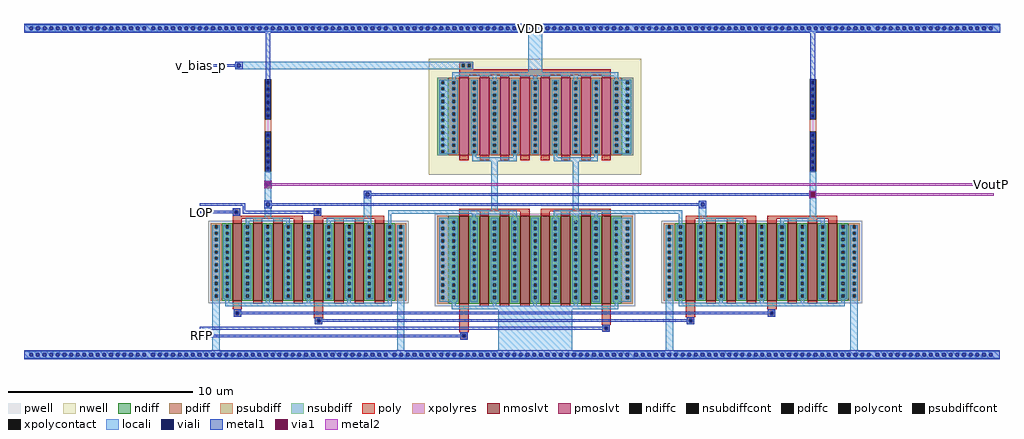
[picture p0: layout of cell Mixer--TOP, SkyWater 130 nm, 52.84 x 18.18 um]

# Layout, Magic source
magic
tech sky130A
magscale 1 2
<< poly >>
rect -151 597 -3 599
rect -151 563 1489 597
rect -2606 -2003 -2506 -1939
rect -1726 -2099 -1626 -1939
rect -152 -2249 -52 -1971
rect 1388 -2171 1488 -1971
rect 2302 -2085 2402 -1939
rect 3182 -2003 3282 -1939
<< locali >>
rect -4865 1059 5702 1082
rect -4865 1025 -4804 1059
rect -4770 1025 -4732 1059
rect -4698 1025 -4660 1059
rect -4626 1025 -4588 1059
rect -4554 1025 -4516 1059
rect -4482 1025 -4444 1059
rect -4410 1025 -4372 1059
rect -4338 1025 -4300 1059
rect -4266 1025 -4228 1059
rect -4194 1025 -4156 1059
rect -4122 1025 -4084 1059
rect -4050 1025 -4012 1059
rect -3978 1025 -3940 1059
rect -3906 1025 -3868 1059
rect -3834 1025 -3796 1059
rect -3762 1025 -3724 1059
rect -3690 1025 -3652 1059
rect -3618 1025 -3580 1059
rect -3546 1025 -3485 1059
rect -3451 1025 -3413 1059
rect -3379 1025 -3341 1059
rect -3307 1025 -3269 1059
rect -3235 1025 -3197 1059
rect -3163 1025 -3125 1059
rect -3091 1025 -3053 1059
rect -3019 1025 -2981 1059
rect -2947 1025 -2909 1059
rect -2875 1025 -2837 1059
rect -2803 1025 -2765 1059
rect -2731 1025 -2693 1059
rect -2659 1025 -2621 1059
rect -2587 1025 -2549 1059
rect -2515 1025 -2477 1059
rect -2443 1025 -2405 1059
rect -2371 1025 -2333 1059
rect -2299 1025 -2261 1059
rect -2227 1025 -2189 1059
rect -2155 1025 -2117 1059
rect -2083 1025 -2045 1059
rect -2011 1025 -1973 1059
rect -1939 1025 -1901 1059
rect -1867 1025 -1829 1059
rect -1795 1025 -1757 1059
rect -1723 1025 -1685 1059
rect -1651 1025 -1613 1059
rect -1579 1025 -1541 1059
rect -1507 1025 -1469 1059
rect -1435 1025 -1397 1059
rect -1363 1025 -1325 1059
rect -1291 1025 -1253 1059
rect -1219 1025 -1181 1059
rect -1147 1025 -1109 1059
rect -1075 1025 -1037 1059
rect -1003 1025 -965 1059
rect -931 1025 -870 1059
rect -836 1025 -798 1059
rect -764 1025 -726 1059
rect -692 1025 -654 1059
rect -620 1025 -582 1059
rect -548 1025 -510 1059
rect -476 1025 -438 1059
rect -404 1025 -366 1059
rect -332 1025 -294 1059
rect -260 1025 -222 1059
rect -188 1025 -150 1059
rect -116 1025 -78 1059
rect -44 1025 -6 1059
rect 28 1025 66 1059
rect 100 1025 138 1059
rect 172 1025 210 1059
rect 244 1025 282 1059
rect 316 1025 354 1059
rect 388 1025 426 1059
rect 460 1025 498 1059
rect 532 1025 570 1059
rect 604 1025 642 1059
rect 676 1025 714 1059
rect 748 1025 786 1059
rect 820 1025 858 1059
rect 892 1025 930 1059
rect 964 1025 1002 1059
rect 1036 1025 1074 1059
rect 1108 1025 1146 1059
rect 1180 1025 1218 1059
rect 1252 1025 1290 1059
rect 1324 1025 1362 1059
rect 1396 1025 1434 1059
rect 1468 1025 1506 1059
rect 1540 1025 1578 1059
rect 1612 1025 1650 1059
rect 1684 1025 1745 1059
rect 1779 1025 1817 1059
rect 1851 1025 1889 1059
rect 1923 1025 1961 1059
rect 1995 1025 2033 1059
rect 2067 1025 2105 1059
rect 2139 1025 2177 1059
rect 2211 1025 2249 1059
rect 2283 1025 2321 1059
rect 2355 1025 2393 1059
rect 2427 1025 2465 1059
rect 2499 1025 2537 1059
rect 2571 1025 2609 1059
rect 2643 1025 2681 1059
rect 2715 1025 2753 1059
rect 2787 1025 2825 1059
rect 2859 1025 2897 1059
rect 2931 1025 2969 1059
rect 3003 1025 3041 1059
rect 3075 1025 3113 1059
rect 3147 1025 3185 1059
rect 3219 1025 3257 1059
rect 3291 1025 3329 1059
rect 3363 1025 3401 1059
rect 3435 1025 3473 1059
rect 3507 1025 3545 1059
rect 3579 1025 3617 1059
rect 3651 1025 3689 1059
rect 3723 1025 3761 1059
rect 3795 1025 3833 1059
rect 3867 1025 3905 1059
rect 3939 1025 3977 1059
rect 4011 1025 4049 1059
rect 4083 1025 4121 1059
rect 4155 1025 4193 1059
rect 4227 1025 4265 1059
rect 4299 1025 4360 1059
rect 4394 1025 4432 1059
rect 4466 1025 4504 1059
rect 4538 1025 4576 1059
rect 4610 1025 4648 1059
rect 4682 1025 4720 1059
rect 4754 1025 4792 1059
rect 4826 1025 4864 1059
rect 4898 1025 4936 1059
rect 4970 1025 5008 1059
rect 5042 1025 5080 1059
rect 5114 1025 5152 1059
rect 5186 1025 5224 1059
rect 5258 1025 5296 1059
rect 5330 1025 5368 1059
rect 5402 1025 5440 1059
rect 5474 1025 5512 1059
rect 5546 1025 5584 1059
rect 5618 1025 5702 1059
rect -4865 1002 5702 1025
rect -2500 599 -151 679
rect 596 564 744 1002
rect -2259 -1009 -2189 -511
rect -1186 -1009 -1106 -798
rect 196 -931 264 -396
rect -923 -965 -12 -931
rect -923 -1089 -889 -965
rect -2826 -2454 -2746 -1889
rect -826 -2454 -746 -1889
rect -292 -1921 -252 -1011
rect 1075 -1060 1143 -396
rect 1348 -965 2259 -931
rect 1588 -1921 1628 -1011
rect 2225 -1093 2259 -965
rect 2442 -1009 2522 -907
rect 3640 -1009 3710 -511
rect 270 -2454 1070 -2001
rect 2082 -2454 2162 -1889
rect 4082 -2454 4162 -1889
rect -4866 -2477 5701 -2454
rect -4866 -2511 -4805 -2477
rect -4771 -2511 -4733 -2477
rect -4699 -2511 -4661 -2477
rect -4627 -2511 -4589 -2477
rect -4555 -2511 -4517 -2477
rect -4483 -2511 -4445 -2477
rect -4411 -2511 -4373 -2477
rect -4339 -2511 -4301 -2477
rect -4267 -2511 -4229 -2477
rect -4195 -2511 -4157 -2477
rect -4123 -2511 -4085 -2477
rect -4051 -2511 -4013 -2477
rect -3979 -2511 -3941 -2477
rect -3907 -2511 -3869 -2477
rect -3835 -2511 -3797 -2477
rect -3763 -2511 -3725 -2477
rect -3691 -2511 -3653 -2477
rect -3619 -2511 -3581 -2477
rect -3547 -2511 -3486 -2477
rect -3452 -2511 -3414 -2477
rect -3380 -2511 -3342 -2477
rect -3308 -2511 -3270 -2477
rect -3236 -2511 -3198 -2477
rect -3164 -2511 -3126 -2477
rect -3092 -2511 -3054 -2477
rect -3020 -2511 -2982 -2477
rect -2948 -2511 -2910 -2477
rect -2876 -2511 -2838 -2477
rect -2804 -2511 -2766 -2477
rect -2732 -2511 -2694 -2477
rect -2660 -2511 -2622 -2477
rect -2588 -2511 -2550 -2477
rect -2516 -2511 -2478 -2477
rect -2444 -2511 -2406 -2477
rect -2372 -2511 -2334 -2477
rect -2300 -2511 -2262 -2477
rect -2228 -2511 -2190 -2477
rect -2156 -2511 -2118 -2477
rect -2084 -2511 -2046 -2477
rect -2012 -2511 -1974 -2477
rect -1940 -2511 -1902 -2477
rect -1868 -2511 -1830 -2477
rect -1796 -2511 -1758 -2477
rect -1724 -2511 -1686 -2477
rect -1652 -2511 -1614 -2477
rect -1580 -2511 -1542 -2477
rect -1508 -2511 -1470 -2477
rect -1436 -2511 -1398 -2477
rect -1364 -2511 -1326 -2477
rect -1292 -2511 -1254 -2477
rect -1220 -2511 -1182 -2477
rect -1148 -2511 -1110 -2477
rect -1076 -2511 -1038 -2477
rect -1004 -2511 -966 -2477
rect -932 -2511 -871 -2477
rect -837 -2511 -799 -2477
rect -765 -2511 -727 -2477
rect -693 -2511 -655 -2477
rect -621 -2511 -583 -2477
rect -549 -2511 -511 -2477
rect -477 -2511 -439 -2477
rect -405 -2511 -367 -2477
rect -333 -2511 -295 -2477
rect -261 -2511 -223 -2477
rect -189 -2511 -151 -2477
rect -117 -2511 -79 -2477
rect -45 -2511 -7 -2477
rect 27 -2511 65 -2477
rect 99 -2511 137 -2477
rect 171 -2511 209 -2477
rect 243 -2511 281 -2477
rect 315 -2511 353 -2477
rect 387 -2511 425 -2477
rect 459 -2511 497 -2477
rect 531 -2511 569 -2477
rect 603 -2511 641 -2477
rect 675 -2511 713 -2477
rect 747 -2511 785 -2477
rect 819 -2511 857 -2477
rect 891 -2511 929 -2477
rect 963 -2511 1001 -2477
rect 1035 -2511 1073 -2477
rect 1107 -2511 1145 -2477
rect 1179 -2511 1217 -2477
rect 1251 -2511 1289 -2477
rect 1323 -2511 1361 -2477
rect 1395 -2511 1433 -2477
rect 1467 -2511 1505 -2477
rect 1539 -2511 1577 -2477
rect 1611 -2511 1649 -2477
rect 1683 -2511 1744 -2477
rect 1778 -2511 1816 -2477
rect 1850 -2511 1888 -2477
rect 1922 -2511 1960 -2477
rect 1994 -2511 2032 -2477
rect 2066 -2511 2104 -2477
rect 2138 -2511 2176 -2477
rect 2210 -2511 2248 -2477
rect 2282 -2511 2320 -2477
rect 2354 -2511 2392 -2477
rect 2426 -2511 2464 -2477
rect 2498 -2511 2536 -2477
rect 2570 -2511 2608 -2477
rect 2642 -2511 2680 -2477
rect 2714 -2511 2752 -2477
rect 2786 -2511 2824 -2477
rect 2858 -2511 2896 -2477
rect 2930 -2511 2968 -2477
rect 3002 -2511 3040 -2477
rect 3074 -2511 3112 -2477
rect 3146 -2511 3184 -2477
rect 3218 -2511 3256 -2477
rect 3290 -2511 3328 -2477
rect 3362 -2511 3400 -2477
rect 3434 -2511 3472 -2477
rect 3506 -2511 3544 -2477
rect 3578 -2511 3616 -2477
rect 3650 -2511 3688 -2477
rect 3722 -2511 3760 -2477
rect 3794 -2511 3832 -2477
rect 3866 -2511 3904 -2477
rect 3938 -2511 3976 -2477
rect 4010 -2511 4048 -2477
rect 4082 -2511 4120 -2477
rect 4154 -2511 4192 -2477
rect 4226 -2511 4264 -2477
rect 4298 -2511 4359 -2477
rect 4393 -2511 4431 -2477
rect 4465 -2511 4503 -2477
rect 4537 -2511 4575 -2477
rect 4609 -2511 4647 -2477
rect 4681 -2511 4719 -2477
rect 4753 -2511 4791 -2477
rect 4825 -2511 4863 -2477
rect 4897 -2511 4935 -2477
rect 4969 -2511 5007 -2477
rect 5041 -2511 5079 -2477
rect 5113 -2511 5151 -2477
rect 5185 -2511 5223 -2477
rect 5257 -2511 5295 -2477
rect 5329 -2511 5367 -2477
rect 5401 -2511 5439 -2477
rect 5473 -2511 5511 -2477
rect 5545 -2511 5583 -2477
rect 5617 -2511 5701 -2477
rect -4866 -2534 5701 -2511
<< viali >>
rect -4804 1025 -4770 1059
rect -4732 1025 -4698 1059
rect -4660 1025 -4626 1059
rect -4588 1025 -4554 1059
rect -4516 1025 -4482 1059
rect -4444 1025 -4410 1059
rect -4372 1025 -4338 1059
rect -4300 1025 -4266 1059
rect -4228 1025 -4194 1059
rect -4156 1025 -4122 1059
rect -4084 1025 -4050 1059
rect -4012 1025 -3978 1059
rect -3940 1025 -3906 1059
rect -3868 1025 -3834 1059
rect -3796 1025 -3762 1059
rect -3724 1025 -3690 1059
rect -3652 1025 -3618 1059
rect -3580 1025 -3546 1059
rect -3485 1025 -3451 1059
rect -3413 1025 -3379 1059
rect -3341 1025 -3307 1059
rect -3269 1025 -3235 1059
rect -3197 1025 -3163 1059
rect -3125 1025 -3091 1059
rect -3053 1025 -3019 1059
rect -2981 1025 -2947 1059
rect -2909 1025 -2875 1059
rect -2837 1025 -2803 1059
rect -2765 1025 -2731 1059
rect -2693 1025 -2659 1059
rect -2621 1025 -2587 1059
rect -2549 1025 -2515 1059
rect -2477 1025 -2443 1059
rect -2405 1025 -2371 1059
rect -2333 1025 -2299 1059
rect -2261 1025 -2227 1059
rect -2189 1025 -2155 1059
rect -2117 1025 -2083 1059
rect -2045 1025 -2011 1059
rect -1973 1025 -1939 1059
rect -1901 1025 -1867 1059
rect -1829 1025 -1795 1059
rect -1757 1025 -1723 1059
rect -1685 1025 -1651 1059
rect -1613 1025 -1579 1059
rect -1541 1025 -1507 1059
rect -1469 1025 -1435 1059
rect -1397 1025 -1363 1059
rect -1325 1025 -1291 1059
rect -1253 1025 -1219 1059
rect -1181 1025 -1147 1059
rect -1109 1025 -1075 1059
rect -1037 1025 -1003 1059
rect -965 1025 -931 1059
rect -870 1025 -836 1059
rect -798 1025 -764 1059
rect -726 1025 -692 1059
rect -654 1025 -620 1059
rect -582 1025 -548 1059
rect -510 1025 -476 1059
rect -438 1025 -404 1059
rect -366 1025 -332 1059
rect -294 1025 -260 1059
rect -222 1025 -188 1059
rect -150 1025 -116 1059
rect -78 1025 -44 1059
rect -6 1025 28 1059
rect 66 1025 100 1059
rect 138 1025 172 1059
rect 210 1025 244 1059
rect 282 1025 316 1059
rect 354 1025 388 1059
rect 426 1025 460 1059
rect 498 1025 532 1059
rect 570 1025 604 1059
rect 642 1025 676 1059
rect 714 1025 748 1059
rect 786 1025 820 1059
rect 858 1025 892 1059
rect 930 1025 964 1059
rect 1002 1025 1036 1059
rect 1074 1025 1108 1059
rect 1146 1025 1180 1059
rect 1218 1025 1252 1059
rect 1290 1025 1324 1059
rect 1362 1025 1396 1059
rect 1434 1025 1468 1059
rect 1506 1025 1540 1059
rect 1578 1025 1612 1059
rect 1650 1025 1684 1059
rect 1745 1025 1779 1059
rect 1817 1025 1851 1059
rect 1889 1025 1923 1059
rect 1961 1025 1995 1059
rect 2033 1025 2067 1059
rect 2105 1025 2139 1059
rect 2177 1025 2211 1059
rect 2249 1025 2283 1059
rect 2321 1025 2355 1059
rect 2393 1025 2427 1059
rect 2465 1025 2499 1059
rect 2537 1025 2571 1059
rect 2609 1025 2643 1059
rect 2681 1025 2715 1059
rect 2753 1025 2787 1059
rect 2825 1025 2859 1059
rect 2897 1025 2931 1059
rect 2969 1025 3003 1059
rect 3041 1025 3075 1059
rect 3113 1025 3147 1059
rect 3185 1025 3219 1059
rect 3257 1025 3291 1059
rect 3329 1025 3363 1059
rect 3401 1025 3435 1059
rect 3473 1025 3507 1059
rect 3545 1025 3579 1059
rect 3617 1025 3651 1059
rect 3689 1025 3723 1059
rect 3761 1025 3795 1059
rect 3833 1025 3867 1059
rect 3905 1025 3939 1059
rect 3977 1025 4011 1059
rect 4049 1025 4083 1059
rect 4121 1025 4155 1059
rect 4193 1025 4227 1059
rect 4265 1025 4299 1059
rect 4360 1025 4394 1059
rect 4432 1025 4466 1059
rect 4504 1025 4538 1059
rect 4576 1025 4610 1059
rect 4648 1025 4682 1059
rect 4720 1025 4754 1059
rect 4792 1025 4826 1059
rect 4864 1025 4898 1059
rect 4936 1025 4970 1059
rect 5008 1025 5042 1059
rect 5080 1025 5114 1059
rect 5152 1025 5186 1059
rect 5224 1025 5258 1059
rect 5296 1025 5330 1059
rect 5368 1025 5402 1059
rect 5440 1025 5474 1059
rect 5512 1025 5546 1059
rect 5584 1025 5618 1059
rect -2583 -966 -2549 -932
rect -1703 -966 -1669 -932
rect -2573 -2060 -2539 -2026
rect -1693 -2142 -1659 -2108
rect -119 -2306 -85 -2272
rect 1420 -2224 1454 -2190
rect 3212 -2060 3246 -2026
rect 2335 -2142 2369 -2108
rect -4805 -2511 -4771 -2477
rect -4733 -2511 -4699 -2477
rect -4661 -2511 -4627 -2477
rect -4589 -2511 -4555 -2477
rect -4517 -2511 -4483 -2477
rect -4445 -2511 -4411 -2477
rect -4373 -2511 -4339 -2477
rect -4301 -2511 -4267 -2477
rect -4229 -2511 -4195 -2477
rect -4157 -2511 -4123 -2477
rect -4085 -2511 -4051 -2477
rect -4013 -2511 -3979 -2477
rect -3941 -2511 -3907 -2477
rect -3869 -2511 -3835 -2477
rect -3797 -2511 -3763 -2477
rect -3725 -2511 -3691 -2477
rect -3653 -2511 -3619 -2477
rect -3581 -2511 -3547 -2477
rect -3486 -2511 -3452 -2477
rect -3414 -2511 -3380 -2477
rect -3342 -2511 -3308 -2477
rect -3270 -2511 -3236 -2477
rect -3198 -2511 -3164 -2477
rect -3126 -2511 -3092 -2477
rect -3054 -2511 -3020 -2477
rect -2982 -2511 -2948 -2477
rect -2910 -2511 -2876 -2477
rect -2838 -2511 -2804 -2477
rect -2766 -2511 -2732 -2477
rect -2694 -2511 -2660 -2477
rect -2622 -2511 -2588 -2477
rect -2550 -2511 -2516 -2477
rect -2478 -2511 -2444 -2477
rect -2406 -2511 -2372 -2477
rect -2334 -2511 -2300 -2477
rect -2262 -2511 -2228 -2477
rect -2190 -2511 -2156 -2477
rect -2118 -2511 -2084 -2477
rect -2046 -2511 -2012 -2477
rect -1974 -2511 -1940 -2477
rect -1902 -2511 -1868 -2477
rect -1830 -2511 -1796 -2477
rect -1758 -2511 -1724 -2477
rect -1686 -2511 -1652 -2477
rect -1614 -2511 -1580 -2477
rect -1542 -2511 -1508 -2477
rect -1470 -2511 -1436 -2477
rect -1398 -2511 -1364 -2477
rect -1326 -2511 -1292 -2477
rect -1254 -2511 -1220 -2477
rect -1182 -2511 -1148 -2477
rect -1110 -2511 -1076 -2477
rect -1038 -2511 -1004 -2477
rect -966 -2511 -932 -2477
rect -871 -2511 -837 -2477
rect -799 -2511 -765 -2477
rect -727 -2511 -693 -2477
rect -655 -2511 -621 -2477
rect -583 -2511 -549 -2477
rect -511 -2511 -477 -2477
rect -439 -2511 -405 -2477
rect -367 -2511 -333 -2477
rect -295 -2511 -261 -2477
rect -223 -2511 -189 -2477
rect -151 -2511 -117 -2477
rect -79 -2511 -45 -2477
rect -7 -2511 27 -2477
rect 65 -2511 99 -2477
rect 137 -2511 171 -2477
rect 209 -2511 243 -2477
rect 281 -2511 315 -2477
rect 353 -2511 387 -2477
rect 425 -2511 459 -2477
rect 497 -2511 531 -2477
rect 569 -2511 603 -2477
rect 641 -2511 675 -2477
rect 713 -2511 747 -2477
rect 785 -2511 819 -2477
rect 857 -2511 891 -2477
rect 929 -2511 963 -2477
rect 1001 -2511 1035 -2477
rect 1073 -2511 1107 -2477
rect 1145 -2511 1179 -2477
rect 1217 -2511 1251 -2477
rect 1289 -2511 1323 -2477
rect 1361 -2511 1395 -2477
rect 1433 -2511 1467 -2477
rect 1505 -2511 1539 -2477
rect 1577 -2511 1611 -2477
rect 1649 -2511 1683 -2477
rect 1744 -2511 1778 -2477
rect 1816 -2511 1850 -2477
rect 1888 -2511 1922 -2477
rect 1960 -2511 1994 -2477
rect 2032 -2511 2066 -2477
rect 2104 -2511 2138 -2477
rect 2176 -2511 2210 -2477
rect 2248 -2511 2282 -2477
rect 2320 -2511 2354 -2477
rect 2392 -2511 2426 -2477
rect 2464 -2511 2498 -2477
rect 2536 -2511 2570 -2477
rect 2608 -2511 2642 -2477
rect 2680 -2511 2714 -2477
rect 2752 -2511 2786 -2477
rect 2824 -2511 2858 -2477
rect 2896 -2511 2930 -2477
rect 2968 -2511 3002 -2477
rect 3040 -2511 3074 -2477
rect 3112 -2511 3146 -2477
rect 3184 -2511 3218 -2477
rect 3256 -2511 3290 -2477
rect 3328 -2511 3362 -2477
rect 3400 -2511 3434 -2477
rect 3472 -2511 3506 -2477
rect 3544 -2511 3578 -2477
rect 3616 -2511 3650 -2477
rect 3688 -2511 3722 -2477
rect 3760 -2511 3794 -2477
rect 3832 -2511 3866 -2477
rect 3904 -2511 3938 -2477
rect 3976 -2511 4010 -2477
rect 4048 -2511 4082 -2477
rect 4120 -2511 4154 -2477
rect 4192 -2511 4226 -2477
rect 4264 -2511 4298 -2477
rect 4359 -2511 4393 -2477
rect 4431 -2511 4465 -2477
rect 4503 -2511 4537 -2477
rect 4575 -2511 4609 -2477
rect 4647 -2511 4681 -2477
rect 4719 -2511 4753 -2477
rect 4791 -2511 4825 -2477
rect 4863 -2511 4897 -2477
rect 4935 -2511 4969 -2477
rect 5007 -2511 5041 -2477
rect 5079 -2511 5113 -2477
rect 5151 -2511 5185 -2477
rect 5223 -2511 5257 -2477
rect 5295 -2511 5329 -2477
rect 5367 -2511 5401 -2477
rect 5439 -2511 5473 -2477
rect 5511 -2511 5545 -2477
rect 5583 -2511 5617 -2477
<< metal1 >>
rect -4865 1059 5702 1092
rect -4865 1025 -4804 1059
rect -4770 1025 -4732 1059
rect -4698 1025 -4660 1059
rect -4626 1025 -4588 1059
rect -4554 1025 -4516 1059
rect -4482 1025 -4444 1059
rect -4410 1025 -4372 1059
rect -4338 1025 -4300 1059
rect -4266 1025 -4228 1059
rect -4194 1025 -4156 1059
rect -4122 1025 -4084 1059
rect -4050 1025 -4012 1059
rect -3978 1025 -3940 1059
rect -3906 1025 -3868 1059
rect -3834 1025 -3796 1059
rect -3762 1025 -3724 1059
rect -3690 1025 -3652 1059
rect -3618 1025 -3580 1059
rect -3546 1025 -3485 1059
rect -3451 1025 -3413 1059
rect -3379 1025 -3341 1059
rect -3307 1025 -3269 1059
rect -3235 1025 -3197 1059
rect -3163 1025 -3125 1059
rect -3091 1025 -3053 1059
rect -3019 1025 -2981 1059
rect -2947 1025 -2909 1059
rect -2875 1025 -2837 1059
rect -2803 1025 -2765 1059
rect -2731 1025 -2693 1059
rect -2659 1025 -2621 1059
rect -2587 1025 -2549 1059
rect -2515 1025 -2477 1059
rect -2443 1025 -2405 1059
rect -2371 1025 -2333 1059
rect -2299 1025 -2261 1059
rect -2227 1025 -2189 1059
rect -2155 1025 -2117 1059
rect -2083 1025 -2045 1059
rect -2011 1025 -1973 1059
rect -1939 1025 -1901 1059
rect -1867 1025 -1829 1059
rect -1795 1025 -1757 1059
rect -1723 1025 -1685 1059
rect -1651 1025 -1613 1059
rect -1579 1025 -1541 1059
rect -1507 1025 -1469 1059
rect -1435 1025 -1397 1059
rect -1363 1025 -1325 1059
rect -1291 1025 -1253 1059
rect -1219 1025 -1181 1059
rect -1147 1025 -1109 1059
rect -1075 1025 -1037 1059
rect -1003 1025 -965 1059
rect -931 1025 -870 1059
rect -836 1025 -798 1059
rect -764 1025 -726 1059
rect -692 1025 -654 1059
rect -620 1025 -582 1059
rect -548 1025 -510 1059
rect -476 1025 -438 1059
rect -404 1025 -366 1059
rect -332 1025 -294 1059
rect -260 1025 -222 1059
rect -188 1025 -150 1059
rect -116 1025 -78 1059
rect -44 1025 -6 1059
rect 28 1025 66 1059
rect 100 1025 138 1059
rect 172 1025 210 1059
rect 244 1025 282 1059
rect 316 1025 354 1059
rect 388 1025 426 1059
rect 460 1025 498 1059
rect 532 1025 570 1059
rect 604 1025 642 1059
rect 676 1025 714 1059
rect 748 1025 786 1059
rect 820 1025 858 1059
rect 892 1025 930 1059
rect 964 1025 1002 1059
rect 1036 1025 1074 1059
rect 1108 1025 1146 1059
rect 1180 1025 1218 1059
rect 1252 1025 1290 1059
rect 1324 1025 1362 1059
rect 1396 1025 1434 1059
rect 1468 1025 1506 1059
rect 1540 1025 1578 1059
rect 1612 1025 1650 1059
rect 1684 1025 1745 1059
rect 1779 1025 1817 1059
rect 1851 1025 1889 1059
rect 1923 1025 1961 1059
rect 1995 1025 2033 1059
rect 2067 1025 2105 1059
rect 2139 1025 2177 1059
rect 2211 1025 2249 1059
rect 2283 1025 2321 1059
rect 2355 1025 2393 1059
rect 2427 1025 2465 1059
rect 2499 1025 2537 1059
rect 2571 1025 2609 1059
rect 2643 1025 2681 1059
rect 2715 1025 2753 1059
rect 2787 1025 2825 1059
rect 2859 1025 2897 1059
rect 2931 1025 2969 1059
rect 3003 1025 3041 1059
rect 3075 1025 3113 1059
rect 3147 1025 3185 1059
rect 3219 1025 3257 1059
rect 3291 1025 3329 1059
rect 3363 1025 3401 1059
rect 3435 1025 3473 1059
rect 3507 1025 3545 1059
rect 3579 1025 3617 1059
rect 3651 1025 3689 1059
rect 3723 1025 3761 1059
rect 3795 1025 3833 1059
rect 3867 1025 3905 1059
rect 3939 1025 3977 1059
rect 4011 1025 4049 1059
rect 4083 1025 4121 1059
rect 4155 1025 4193 1059
rect 4227 1025 4265 1059
rect 4299 1025 4360 1059
rect 4394 1025 4432 1059
rect 4466 1025 4504 1059
rect 4538 1025 4576 1059
rect 4610 1025 4648 1059
rect 4682 1025 4720 1059
rect 4754 1025 4792 1059
rect 4826 1025 4864 1059
rect 4898 1025 4936 1059
rect 4970 1025 5008 1059
rect 5042 1025 5080 1059
rect 5114 1025 5152 1059
rect 5186 1025 5224 1059
rect 5258 1025 5296 1059
rect 5330 1025 5368 1059
rect 5402 1025 5440 1059
rect 5474 1025 5512 1059
rect 5546 1025 5584 1059
rect 5618 1025 5702 1059
rect -4865 992 5702 1025
rect -2962 625 -2580 653
rect -2249 485 -2199 992
rect 3650 485 3700 992
rect -1106 -774 3635 -746
rect -2962 -881 -2470 -853
rect -2184 -881 2442 -853
rect -2606 -932 -2526 -909
rect -2606 -936 -2583 -932
rect -2962 -964 -2583 -936
rect -2606 -966 -2583 -964
rect -2549 -966 -2526 -932
rect -2498 -937 -2470 -881
rect -1726 -932 -1646 -909
rect -1726 -937 -1703 -932
rect -2498 -965 -1703 -937
rect -2606 -989 -2526 -966
rect -1726 -966 -1703 -965
rect -1669 -966 -1646 -932
rect -1726 -989 -1646 -966
rect -2596 -2026 -2516 -2003
rect -2596 -2060 -2573 -2026
rect -2539 -2029 -2516 -2026
rect 3189 -2026 3269 -2003
rect 3189 -2029 3212 -2026
rect -2539 -2057 3212 -2029
rect -2539 -2060 -2516 -2057
rect -2596 -2083 -2516 -2060
rect 3189 -2060 3212 -2057
rect 3246 -2060 3269 -2026
rect 3189 -2083 3269 -2060
rect -1716 -2108 -1636 -2085
rect -1716 -2142 -1693 -2108
rect -1659 -2111 -1636 -2108
rect 2312 -2108 2392 -2085
rect 2312 -2111 2335 -2108
rect -1659 -2139 2335 -2111
rect -1659 -2142 -1636 -2139
rect -1716 -2165 -1636 -2142
rect 2312 -2142 2335 -2139
rect 2369 -2142 2392 -2108
rect 2312 -2165 2392 -2142
rect 1397 -2190 1477 -2167
rect 1397 -2193 1420 -2190
rect -2962 -2221 1420 -2193
rect 1397 -2224 1420 -2221
rect 1454 -2224 1477 -2190
rect 1397 -2247 1477 -2224
rect -142 -2272 -62 -2249
rect -142 -2276 -119 -2272
rect -2962 -2304 -119 -2276
rect -142 -2306 -119 -2304
rect -85 -2306 -62 -2272
rect -142 -2329 -62 -2306
rect -4866 -2477 5701 -2444
rect -4866 -2511 -4805 -2477
rect -4771 -2511 -4733 -2477
rect -4699 -2511 -4661 -2477
rect -4627 -2511 -4589 -2477
rect -4555 -2511 -4517 -2477
rect -4483 -2511 -4445 -2477
rect -4411 -2511 -4373 -2477
rect -4339 -2511 -4301 -2477
rect -4267 -2511 -4229 -2477
rect -4195 -2511 -4157 -2477
rect -4123 -2511 -4085 -2477
rect -4051 -2511 -4013 -2477
rect -3979 -2511 -3941 -2477
rect -3907 -2511 -3869 -2477
rect -3835 -2511 -3797 -2477
rect -3763 -2511 -3725 -2477
rect -3691 -2511 -3653 -2477
rect -3619 -2511 -3581 -2477
rect -3547 -2511 -3486 -2477
rect -3452 -2511 -3414 -2477
rect -3380 -2511 -3342 -2477
rect -3308 -2511 -3270 -2477
rect -3236 -2511 -3198 -2477
rect -3164 -2511 -3126 -2477
rect -3092 -2511 -3054 -2477
rect -3020 -2511 -2982 -2477
rect -2948 -2511 -2910 -2477
rect -2876 -2511 -2838 -2477
rect -2804 -2511 -2766 -2477
rect -2732 -2511 -2694 -2477
rect -2660 -2511 -2622 -2477
rect -2588 -2511 -2550 -2477
rect -2516 -2511 -2478 -2477
rect -2444 -2511 -2406 -2477
rect -2372 -2511 -2334 -2477
rect -2300 -2511 -2262 -2477
rect -2228 -2511 -2190 -2477
rect -2156 -2511 -2118 -2477
rect -2084 -2511 -2046 -2477
rect -2012 -2511 -1974 -2477
rect -1940 -2511 -1902 -2477
rect -1868 -2511 -1830 -2477
rect -1796 -2511 -1758 -2477
rect -1724 -2511 -1686 -2477
rect -1652 -2511 -1614 -2477
rect -1580 -2511 -1542 -2477
rect -1508 -2511 -1470 -2477
rect -1436 -2511 -1398 -2477
rect -1364 -2511 -1326 -2477
rect -1292 -2511 -1254 -2477
rect -1220 -2511 -1182 -2477
rect -1148 -2511 -1110 -2477
rect -1076 -2511 -1038 -2477
rect -1004 -2511 -966 -2477
rect -932 -2511 -871 -2477
rect -837 -2511 -799 -2477
rect -765 -2511 -727 -2477
rect -693 -2511 -655 -2477
rect -621 -2511 -583 -2477
rect -549 -2511 -511 -2477
rect -477 -2511 -439 -2477
rect -405 -2511 -367 -2477
rect -333 -2511 -295 -2477
rect -261 -2511 -223 -2477
rect -189 -2511 -151 -2477
rect -117 -2511 -79 -2477
rect -45 -2511 -7 -2477
rect 27 -2511 65 -2477
rect 99 -2511 137 -2477
rect 171 -2511 209 -2477
rect 243 -2511 281 -2477
rect 315 -2511 353 -2477
rect 387 -2511 425 -2477
rect 459 -2511 497 -2477
rect 531 -2511 569 -2477
rect 603 -2511 641 -2477
rect 675 -2511 713 -2477
rect 747 -2511 785 -2477
rect 819 -2511 857 -2477
rect 891 -2511 929 -2477
rect 963 -2511 1001 -2477
rect 1035 -2511 1073 -2477
rect 1107 -2511 1145 -2477
rect 1179 -2511 1217 -2477
rect 1251 -2511 1289 -2477
rect 1323 -2511 1361 -2477
rect 1395 -2511 1433 -2477
rect 1467 -2511 1505 -2477
rect 1539 -2511 1577 -2477
rect 1611 -2511 1649 -2477
rect 1683 -2511 1744 -2477
rect 1778 -2511 1816 -2477
rect 1850 -2511 1888 -2477
rect 1922 -2511 1960 -2477
rect 1994 -2511 2032 -2477
rect 2066 -2511 2104 -2477
rect 2138 -2511 2176 -2477
rect 2210 -2511 2248 -2477
rect 2282 -2511 2320 -2477
rect 2354 -2511 2392 -2477
rect 2426 -2511 2464 -2477
rect 2498 -2511 2536 -2477
rect 2570 -2511 2608 -2477
rect 2642 -2511 2680 -2477
rect 2714 -2511 2752 -2477
rect 2786 -2511 2824 -2477
rect 2858 -2511 2896 -2477
rect 2930 -2511 2968 -2477
rect 3002 -2511 3040 -2477
rect 3074 -2511 3112 -2477
rect 3146 -2511 3184 -2477
rect 3218 -2511 3256 -2477
rect 3290 -2511 3328 -2477
rect 3362 -2511 3400 -2477
rect 3434 -2511 3472 -2477
rect 3506 -2511 3544 -2477
rect 3578 -2511 3616 -2477
rect 3650 -2511 3688 -2477
rect 3722 -2511 3760 -2477
rect 3794 -2511 3832 -2477
rect 3866 -2511 3904 -2477
rect 3938 -2511 3976 -2477
rect 4010 -2511 4048 -2477
rect 4082 -2511 4120 -2477
rect 4154 -2511 4192 -2477
rect 4226 -2511 4264 -2477
rect 4298 -2511 4359 -2477
rect 4393 -2511 4431 -2477
rect 4465 -2511 4503 -2477
rect 4537 -2511 4575 -2477
rect 4609 -2511 4647 -2477
rect 4681 -2511 4719 -2477
rect 4753 -2511 4791 -2477
rect 4825 -2511 4863 -2477
rect 4897 -2511 4935 -2477
rect 4969 -2511 5007 -2477
rect 5041 -2511 5079 -2477
rect 5113 -2511 5151 -2477
rect 5185 -2511 5223 -2477
rect 5257 -2511 5295 -2477
rect 5329 -2511 5367 -2477
rect 5401 -2511 5439 -2477
rect 5473 -2511 5511 -2477
rect 5545 -2511 5583 -2477
rect 5617 -2511 5701 -2477
rect -4866 -2544 5701 -2511
<< via1 >>
rect -2252 -677 -2196 -621
rect 3647 -787 3703 -731
<< metal2 >>
rect -2184 -663 5637 -635
rect 3635 -731 3715 -719
rect 3635 -787 3647 -731
rect 3703 -745 3715 -731
rect 3703 -773 5637 -745
rect 3703 -787 3715 -773
rect 3635 -799 3715 -787
use CASCODE_pmos_1v8_lvt_4p75_4finger  CASCODE_pmos_1v8_lvt_4p75_4finger_0
transform 1 0 270 0 1 -443
box -751 -103 1549 1157
use Li_via_M1  Li_via_M1_0
transform 1 0 -2560 0 1 619
box -20 -20 60 60
use Li_via_M1  Li_via_M1_1
transform 1 0 3655 0 1 -779
box -20 -20 60 60
use Li_via_M1  Li_via_M1_2
transform 1 0 -1166 0 1 -779
box -20 -20 60 60
use Li_via_M1  Li_via_M1_3
transform 1 0 2462 0 1 -887
box -20 -20 60 60
use Li_via_M1  Li_via_M1_4
transform 1 0 -2244 0 1 -887
box -20 -20 60 60
use Li_via_M2  Li_via_M2_0
transform 1 0 -2244 0 1 -669
box -20 -20 60 60
use P_pcon_li_single  P_pcon_li_single_0
transform 1 0 -122 0 1 -2309
box -20 -20 60 60
use P_pcon_li_single  P_pcon_li_single_1
transform 1 0 1417 0 1 -2227
box -20 -20 60 60
use P_pcon_li_single  P_pcon_li_single_2
transform 1 0 -1706 0 1 -969
box -20 -20 60 60
use P_pcon_li_single  P_pcon_li_single_3
transform 1 0 2332 0 1 -2145
box -20 -20 60 60
use P_pcon_li_single  P_pcon_li_single_4
transform 1 0 -1696 0 1 -2145
box -20 -20 60 60
use P_pcon_li_single  P_pcon_li_single_5
transform 1 0 3209 0 1 -2063
box -20 -20 60 60
use P_pcon_li_single  P_pcon_li_single_6
transform 1 0 -2576 0 1 -2063
box -20 -20 60 60
use P_pcon_li_single  P_pcon_li_single_7
transform 1 0 -2586 0 1 -969
box -20 -20 60 60
use Poly_pcon_Li_double  Poly_pcon_Li_double_0
transform 1 0 -131 0 1 619
box -20 -20 128 60
use fuckthisresistor3  fuckthisresistor3_0
transform 1 0 4152 0 1 -10
box -512 -501 -442 501
use fuckthisresistor3  fuckthisresistor3_1
transform 1 0 -1747 0 1 -10
box -512 -501 -442 501
use nmos_1v8_lvt_4p2_body_4finger  nmos_1v8_lvt_4p2_body_4finger_0
transform -1 0 2412 0 1 -1969
box -1796 0 -624 980
use nmos_1v8_lvt_4p2_body_4finger  nmos_1v8_lvt_4p2_body_4finger_1
transform 1 0 3832 0 1 -1969
box -1796 0 -624 980
use nmos_1v8_lvt_4p2_body_4finger  nmos_1v8_lvt_4p2_body_4finger_2
transform -1 0 -2496 0 1 -1969
box -1796 0 -624 980
use nmos_1v8_lvt_4p2_body_4finger  nmos_1v8_lvt_4p2_body_4finger_3
transform 1 0 -1076 0 1 -1969
box -1796 0 -624 980
use nmos_1v8_lvt_4p75_body_4finger  nmos_1v8_lvt_4p75_body_4finger_0
transform -1 0 -382 0 1 -1961
box -2136 -40 -964 1050
use nmos_1v8_lvt_4p75_body_4finger  nmos_1v8_lvt_4p75_body_4finger_1
transform 1 0 1718 0 1 -1961
box -2136 -40 -964 1050
<< labels >>
flabel metal1 s 604 1025 642 1059 2 FreeSans 100000 0 0 0 VDD
port 1 nsew
flabel metal1 s -2949 631 -2934 644 2 FreeSans 100000 0 0 0 v_bias_p
port 2 nsew
flabel metal1 s -2953 -2298 -2938 -2282 2 FreeSans 100000 0 0 0 RFP
port 3 nsew
flabel metal1 s -2953 -2215 -2938 -2199 2 FreeSans 100000 0 0 0 RFN
port 4 nsew
flabel metal1 s -2949 -959 -2931 -942 2 FreeSans 100000 0 0 0 LOP
port 5 nsew
flabel metal1 s -2948 -876 -2930 -859 2 FreeSans 100000 0 0 0 LON
port 6 nsew
flabel metal2 s 5601 -658 5617 -645 2 FreeSans 100000 0 0 0 VoutP
port 7 nsew
flabel metal2 s 5600 -769 5619 -752 2 FreeSans 100000 0 0 0 VoutN
port 8 nsew
<< properties >>
string path 18.575 -3.795 28.185 -3.795 28.185 -3.795 
<< end >>

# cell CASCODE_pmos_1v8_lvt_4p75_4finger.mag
magic
tech sky130A
magscale 1 2
<< poly >>
rect 339 967 459 1007
<< locali >>
rect -561 127 -521 927
rect 1319 127 1359 927
use pmos_1v8_lvt_4p75_Lbody_4finger  pmos_1v8_lvt_4p75_Lbody_4finger_0
transform 1 0 -511 0 1 -273
box -240 170 1180 1430
use pmos_1v8_lvt_4p75_Rbody_4finger  pmos_1v8_lvt_4p75_Rbody_4finger_0
transform 1 0 369 0 1 -273
box -240 170 1180 1430
<< end >>

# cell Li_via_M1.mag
magic
tech sky130A
magscale 1 2
<< locali >>
rect -20 37 60 60
rect -20 3 3 37
rect 37 3 60 37
rect -20 -20 60 3
<< viali >>
rect 3 3 37 37
<< metal1 >>
rect -20 37 60 60
rect -20 3 3 37
rect 37 3 60 37
rect -20 -20 60 3
<< end >>

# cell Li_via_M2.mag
magic
tech sky130A
magscale 1 2
<< locali >>
rect -20 37 60 60
rect -20 3 3 37
rect 37 3 60 37
rect -20 -20 60 3
<< viali >>
rect 3 3 37 37
<< metal1 >>
rect -20 37 60 60
rect -20 3 3 37
rect 37 3 60 37
rect -20 -20 60 3
<< metal2 >>
rect -20 -20 60 60
<< end >>

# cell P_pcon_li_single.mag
magic
tech sky130A
magscale 1 2
<< poly >>
rect -20 37 60 60
rect -20 3 3 37
rect 37 3 60 37
rect -20 -20 60 3
<< polycont >>
rect 3 3 37 37
<< locali >>
rect -20 37 60 60
rect -20 3 3 37
rect 37 3 60 37
rect -20 -20 60 3
<< end >>

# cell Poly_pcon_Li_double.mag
magic
tech sky130A
magscale 1 2
<< poly >>
rect -20 37 128 60
rect -20 3 3 37
rect 37 3 71 37
rect 105 3 128 37
rect -20 -20 128 3
<< polycont >>
rect 3 3 37 37
rect 71 3 105 37
<< locali >>
rect -20 37 128 60
rect -20 3 3 37
rect 37 3 71 37
rect 105 3 128 37
rect -20 -20 128 3
<< end >>

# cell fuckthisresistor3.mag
magic
tech sky130A
magscale 1 2
<< xpolycontact >>
rect -512 69 -442 501
rect -512 -501 -442 -69
<< xpolyres >>
rect -512 -69 -442 69
<< viali >>
rect -494 447 -460 481
rect -494 375 -460 409
rect -494 303 -460 337
rect -494 231 -460 265
rect -494 159 -460 193
rect -494 87 -460 121
rect -494 -122 -460 -88
rect -494 -194 -460 -160
rect -494 -266 -460 -232
rect -494 -338 -460 -304
rect -494 -410 -460 -376
rect -494 -482 -460 -448
<< metal1 >>
rect -502 481 -452 495
rect -502 447 -494 481
rect -460 447 -452 481
rect -502 409 -452 447
rect -502 375 -494 409
rect -460 375 -452 409
rect -502 337 -452 375
rect -502 303 -494 337
rect -460 303 -452 337
rect -502 265 -452 303
rect -502 231 -494 265
rect -460 231 -452 265
rect -502 193 -452 231
rect -502 159 -494 193
rect -460 159 -452 193
rect -502 121 -452 159
rect -502 87 -494 121
rect -460 87 -452 121
rect -502 74 -452 87
rect -502 -88 -452 -74
rect -502 -122 -494 -88
rect -460 -122 -452 -88
rect -502 -160 -452 -122
rect -502 -194 -494 -160
rect -460 -194 -452 -160
rect -502 -232 -452 -194
rect -502 -266 -494 -232
rect -460 -266 -452 -232
rect -502 -304 -452 -266
rect -502 -338 -494 -304
rect -460 -338 -452 -304
rect -502 -376 -452 -338
rect -502 -410 -494 -376
rect -460 -410 -452 -376
rect -502 -448 -452 -410
rect -502 -482 -494 -448
rect -460 -482 -452 -448
rect -502 -495 -452 -482
<< end >>

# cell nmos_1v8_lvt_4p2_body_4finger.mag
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
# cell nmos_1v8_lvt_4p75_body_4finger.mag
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
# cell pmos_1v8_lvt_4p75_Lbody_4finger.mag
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
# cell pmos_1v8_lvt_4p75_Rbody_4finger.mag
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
